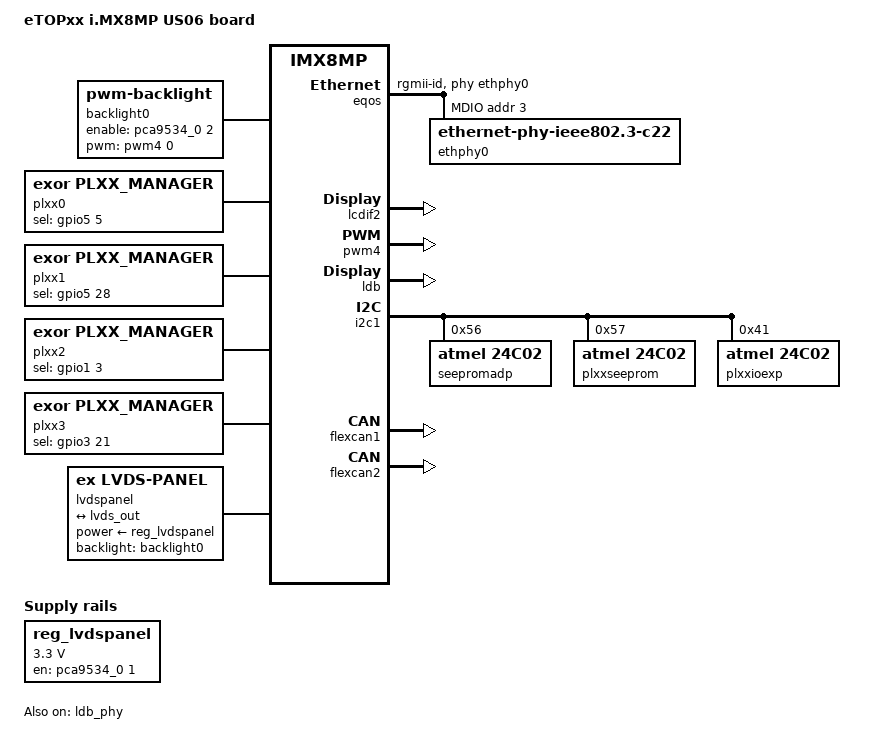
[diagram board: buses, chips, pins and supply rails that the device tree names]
/*
 * Copyright (C) 2024 Exor Int.
 * 
 * Written by: G. Pavoni Exor Int.
 * 
 * Copyright (C) 2013 Freescale Semiconductor, Inc.
 *
 * This program is free software; you can redistribute it and/or modify
 * it under the terms of the GNU General Public License version 2 as
 * published by the Free Software Foundation.
 */
  
/dts-v1/;
  
#include "imx8mp_us06.dtsi"
  
/ {
	model = "eTOPxx i.MX8MP US06 board";

	aliases {
		serial0 = &uart1;
	};

	backlight0: backlight {
		compatible = "pwm-backlight";
		pwms = <&pwm4 0 50000 0>;
		brightness-levels = <0 4 8 12 16 20 24 28 32 36 40 44 48 52 56 60 64 68 72 76 80 84 88 92 96 100>;
		default-brightness-level = <0>;
		enable-gpios = <&pca9534_0 2 0>;
		status = "okay";
	};

	working_hours {
	  compatible = "working_hours";
	  nvmem-names = "eeprom";
	  nvmem = <&seeprom0>;
	  has-blight;
	  status = "okay";
	};

	plxx0: plugin0 {
	  compatible = "exor,plxx_manager";
	  nvmem-names = "eeprom", "ioexp";
	  nvmem = <&plxxseeprom>, <&plxxioexp>;
	  sel-gpio = <&gpio5 5 0>;
	  index = <0>;
	  status = "okay";
	};

	plxx1: plugin1 {
	  compatible = "exor,plxx_manager";
	  nvmem-names = "eeprom", "ioexp";
	  nvmem = <&plxxseeprom>, <&plxxioexp>;
	  sel-gpio = <&gpio5 28 0>;
	  index = <1>;
	  status = "okay";
	};

	plxx2: plugin2 {
	  compatible = "exor,plxx_manager";
	  nvmem-names = "eeprom", "ioexp";
	  nvmem = <&plxxseeprom>, <&plxxioexp>;
	  sel-gpio = <&gpio1 3 0>;
	  index = <2>;
	  status = "okay";
	};

	plxx3: plugin3 {
	  compatible = "exor,plxx_manager";
	  nvmem-names = "eeprom", "ioexp";
	  nvmem = <&plxxseeprom>, <&plxxioexp>;
	  sel-gpio = <&gpio3 21 0>;
	  index = <3>;
	  status = "okay";
	};

	reg_lvdspanel: regulator-lvdspanel {
		compatible = "regulator-fixed";
		regulator-name = "lvds-reg";
		regulator-min-microvolt = <3300000>;
		regulator-max-microvolt = <3300000>;
		regulator-always-on;
		gpio = <&pca9534_0 1 0>;
		startup-delay-us = <100000>;
		enable-active-high;
	};

	lvdspanel {
		#address-cells = <1>;
		#size-cells = <0>;
		compatible = "ex,lvds-panel", "simple-panel";
		backlight = <&backlight0>;
		power-supply = <&reg_lvdspanel>;

		status = "okay";

		de_pol = <1>;
		hsync_pol = <1>;
		vsync_pol = <1>;
		lvds-use-jeida;
		panel-timing {
			clock-frequency = <33200000>;
			hactive = <800>;
			vactive = <480>;
			hsync-len = <200>;
			hfront-porch = <28>;
			hback-porch = <28>;
			vsync-len = <25>;
			vfront-porch = <10>;
			vback-porch = <10>;
		};

		port@0 {
			reg = <0>;

			panel_in: endpoint {
				remote-endpoint = <&lvds_out>;
			};
		};
	};


};

&eqos {
	pinctrl-names = "default";
	pinctrl-0 = <&pinctrl_eqos>;
	phy-mode = "rgmii-id";
	phy-handle = <&ethphy0>;
	status = "okay";

	mdio {
		compatible = "snps,dwmac-mdio";
		#address-cells = <1>;
		#size-cells = <0>;

		ethphy0: ethernet-phy@3 {
			compatible = "ethernet-phy-ieee802.3-c22";
			reg = <3>;
			eee-broken-1000t;
		};
	};
};

/* LVDS */
&lcdif2 {
	status = "okay";
};

/* PWM dimming */
&pwm4 {
	status = "okay";
};

&ldb {
	status = "okay";

	lvds-channel@0 {
		fsl,data-mapping = "spwg";
		fsl,data-width = <24>;
		status = "okay";

		port@1 {
			reg = <1>;

			lvds_out: endpoint {
				remote-endpoint = <&panel_in>;
			};
		};
	};
};

&ldb_phy {
	status = "okay";
};

&ecspi2 {
	/delete-property/dmas;
	/delete-property/dma-names;
};

&i2c1 {
    seepromadp:seeprom0@56 {
        compatible = "atmel,24c02";
        reg = <0x56>;
    };

	plxxseeprom:seeprom1@57 {
		compatible = "atmel,24c02";
		reg = <0x57>;
	};

	plxxioexp:ioexp1@41 {
		compatible = "atmel,24c02";
		reg = <0x41>;
	};
};

&pcie{
	fsl,max-link-speed = <1>;
};

&flexcan1 {
	status = "okay";
};

&flexcan2 {
	status = "okay";
};

&iomuxc {
	pinctrl-names = "default";
	pinctrl-0 = <&pinctrl_hog &pinctrl_hog2>;

	imx8mp-evk {

		pinctrl_hog2: hoggrp-2 {
			fsl,pins = <
				MX8MP_IOMUXC_SPDIF_EXT_CLK__GPIO5_IO05      0x106
				MX8MP_IOMUXC_SPDIF_EXT_CLK__GPIO5_IO05      0x106
				MX8MP_IOMUXC_GPIO1_IO03__GPIO1_IO03      0x106
				MX8MP_IOMUXC_SAI5_RXD0__GPIO3_IO21       0x106
			>;
		};

		pinctrl_eqos: eqosgrp {
			fsl,pins = <
				MX8MP_IOMUXC_ENET_MDC__ENET_QOS_MDC		0x3
				MX8MP_IOMUXC_ENET_MDIO__ENET_QOS_MDIO		0x3
				MX8MP_IOMUXC_ENET_RD0__ENET_QOS_RGMII_RD0	0x91
				MX8MP_IOMUXC_ENET_RD1__ENET_QOS_RGMII_RD1	0x91
				MX8MP_IOMUXC_ENET_RD2__ENET_QOS_RGMII_RD2	0x91
				MX8MP_IOMUXC_ENET_RD3__ENET_QOS_RGMII_RD3	0x91
				MX8MP_IOMUXC_ENET_RXC__CCM_ENET_QOS_CLOCK_GENERATE_RX_CLK	0x91
				MX8MP_IOMUXC_ENET_RX_CTL__ENET_QOS_RGMII_RX_CTL	0x91
				MX8MP_IOMUXC_ENET_TD0__ENET_QOS_RGMII_TD0	0x1f
				MX8MP_IOMUXC_ENET_TD1__ENET_QOS_RGMII_TD1	0x1f
				MX8MP_IOMUXC_ENET_TD2__ENET_QOS_RGMII_TD2	0x1f
				MX8MP_IOMUXC_ENET_TD3__ENET_QOS_RGMII_TD3	0x1f
				MX8MP_IOMUXC_ENET_TX_CTL__ENET_QOS_RGMII_TX_CTL	0x1f
				MX8MP_IOMUXC_ENET_TXC__CCM_ENET_QOS_CLOCK_GENERATE_TX_CLK	0x1f
			>;
		};

	};
};

